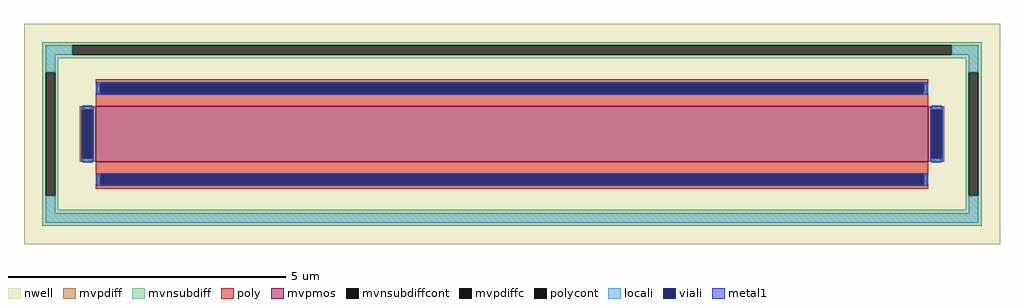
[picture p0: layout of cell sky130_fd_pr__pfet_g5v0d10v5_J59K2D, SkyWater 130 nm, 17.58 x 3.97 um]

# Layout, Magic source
magic
tech sky130A
magscale 1 2
<< nwell >>
rect -1758 -397 1758 397
<< mvpmos >>
rect -1500 -100 1500 100
<< mvpdiff >>
rect -1558 88 -1500 100
rect -1558 -88 -1546 88
rect -1512 -88 -1500 88
rect -1558 -100 -1500 -88
rect 1500 88 1558 100
rect 1500 -88 1512 88
rect 1546 -88 1558 88
rect 1500 -100 1558 -88
<< mvpdiffc >>
rect -1546 -88 -1512 88
rect 1512 -88 1546 88
<< mvnsubdiff >>
rect -1692 319 1692 331
rect -1692 285 -1584 319
rect 1584 285 1692 319
rect -1692 273 1692 285
rect -1692 223 -1634 273
rect -1692 -223 -1680 223
rect -1646 -223 -1634 223
rect 1634 223 1692 273
rect -1692 -273 -1634 -223
rect 1634 -223 1646 223
rect 1680 -223 1692 223
rect 1634 -273 1692 -223
rect -1692 -331 1692 -273
<< mvnsubdiffcont >>
rect -1584 285 1584 319
rect -1680 -223 -1646 223
rect 1646 -223 1680 223
<< poly >>
rect -1500 181 1500 197
rect -1500 147 -1484 181
rect 1484 147 1500 181
rect -1500 100 1500 147
rect -1500 -147 1500 -100
rect -1500 -181 -1484 -147
rect 1484 -181 1500 -147
rect -1500 -197 1500 -181
<< polycont >>
rect -1484 147 1484 181
rect -1484 -181 1484 -147
<< locali >>
rect -1680 285 -1584 319
rect 1584 285 1680 319
rect -1680 223 -1646 285
rect 1646 223 1680 285
rect -1500 147 -1484 181
rect 1484 147 1500 181
rect -1546 88 -1512 104
rect -1546 -104 -1512 -88
rect 1512 88 1546 104
rect 1512 -104 1546 -88
rect -1500 -181 -1484 -147
rect 1484 -181 1500 -147
rect -1680 -285 -1646 -223
rect 1646 -285 1680 -223
rect -1680 -319 1680 -285
<< viali >>
rect -1484 147 1484 181
rect -1546 -88 -1512 88
rect 1512 -88 1546 88
rect -1484 -181 1484 -147
<< metal1 >>
rect -1496 181 1496 187
rect -1496 147 -1484 181
rect 1484 147 1496 181
rect -1496 141 1496 147
rect -1552 88 -1506 100
rect -1552 -88 -1546 88
rect -1512 -88 -1506 88
rect -1552 -100 -1506 -88
rect 1506 88 1552 100
rect 1506 -88 1512 88
rect 1546 -88 1552 88
rect 1506 -100 1552 -88
rect -1496 -147 1496 -141
rect -1496 -181 -1484 -147
rect 1484 -181 1496 -147
rect -1496 -187 1496 -181
<< properties >>
string FIXED_BBOX -1663 -302 1663 302
string gencell sky130_fd_pr__pfet_g5v0d10v5
string library sky130
string parameters w 1.0 l 15.0 m 1 nf 1 diffcov 100 polycov 100 guard 1 glc 1 grc 1 gtc 1 gbc 0 tbcov 100 rlcov 100 topc 1 botc 1 poverlap 0 doverlap 1 lmin 0.50 wmin 0.42 class mosfet compatible {sky130_fd_pr__pfet_01v8  sky130_fd_pr__pfet_01v8_lvt sky130_fd_pr__pfet_01v8_hvt  sky130_fd_pr__pfet_g5v0d10v5} full_metal 1 viasrc 100 viadrn 100 viagate 100 viagb 0 viagr 0 viagl 0 viagt 0
<< end >>
